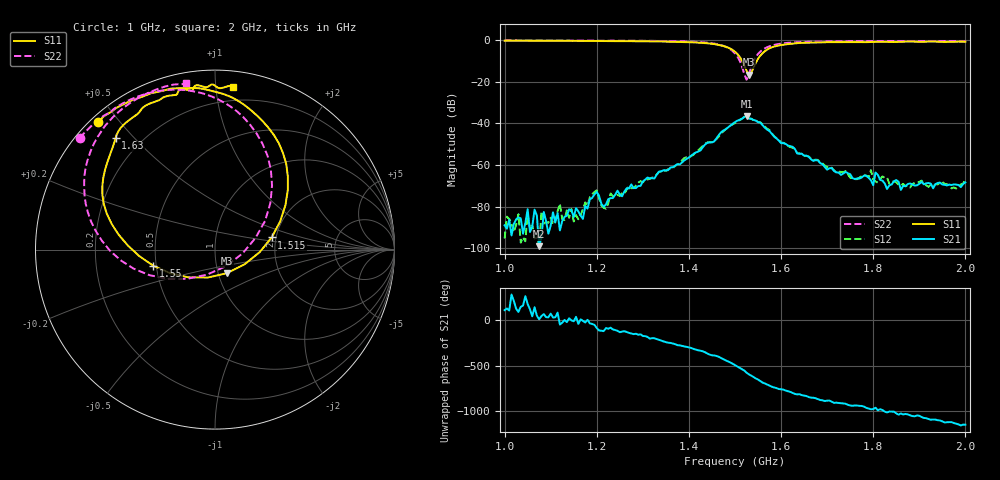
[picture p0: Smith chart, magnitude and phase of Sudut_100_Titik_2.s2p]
# Hz S RI R 50
! CMT, C1220, 16058040, 17.2.0/1
! Date: 14/08/2018 12:46:18
! Data: Format (Calibration Info)
! Freq  S11: Re/Im (F2)  S21: Re/Im (F2)  S12: Re/Im (F2)  S22: Re/Im (F2)
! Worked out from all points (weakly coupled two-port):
!   201 points, 1 GHz to 2 GHz, reference 50 ohm
!   highest |S21| = -36.60 dB at 1.525 GHz (marker M1); lowest = -99.0 dB at 1.075 GHz (marker M2)
!   lowest |S11| = -16.6 dB at 1.53 GHz (marker M3), VSWR 1.35, Z = 55.1 - j14.8 ohm
!   |S11| at or under -10 dB: 1.515 GHz to 1.547 GHz (32.02 MHz wide, 2.09 % of centre)
!   |S22| runs from -19.1 to -0.2 dB; largest |S21 - S12| = 0.00059
!   S11 on the Smith chart (normalised r, x): 1 GHz: 0.02, +0.44; 1.515 GHz: 1.90, +0.29; 1.55 GHz: 0.48, -0.10; 1.63 GHz: 0.11, +0.44; 2 GHz: 0.10, +1.11
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1e9  -0.6514 0.7131  -1.33e-05 3.3e-05  -1.14e-05 -1.27e-05  -0.7539 0.6213
1.075e9  -0.5723 0.7717  1.1e-05 2.35e-06  -3.09e-07 1.14e-05  -0.7009 0.6769
1.17e9  -0.4808 0.8239  5.03e-05 -5.65e-06  8.73e-05 3.03e-06  -0.6184 0.7467
1.2e9  -0.4384 0.8405  1.82e-05 -0.000225  -9.14e-06 -0.000246  -0.585 0.76
1.22e9  -0.4159 0.8478  1.02e-05 -0.000113  2.16e-05 -8.59e-05  -0.5741 0.7739
1.23e9  -0.3988 0.8543  2.44e-05 -0.000158  -4.45e-05 -0.000202  -0.5631 0.7837
1.335e9  -0.2178 0.898  -0.000578 0.000375  -0.00056 0.000389  -0.404 0.8616
1.45e9  0.1821 0.7915  0.00316 -0.00145  0.00317 -0.00166  0.0179 0.8367
1.5e9  0.4057 0.3324  -0.00726 -0.00786  -0.00684 -0.00743  0.3178 0.3573
1.515e9  0.3162 0.068  -0.0128 -0.000609  -0.0129 -0.000931  0.2256 0.0645
1.525e9  0.1646 -0.0822  -0.012 0.00863  -0.0122 0.00863  0.0607 -0.0928
1.53e9  0.0668 -0.1312  -0.00767 0.0106  -0.00775 0.0106  -0.0455 -0.1398
1.55e9  -0.3434 -0.0901  0.00394 0.00999  0.00353 0.0101  -0.4532 -0.1063
1.58e9  -0.6194 0.2528  0.00551 -0.000974  0.00567 -0.00124  -0.7087 0.2087
1.63e9  -0.5543 0.6211  1.87e-05 -0.00243  0.000113 -0.00239  -0.6959 0.5402
1.67e9  -0.4457 0.745  -0.000825 -0.000939  -0.000849 -0.00101  -0.6275 0.6683
1.76e9  -0.2655 0.8557  -0.000368 0.000275  -0.0004 0.000216  -0.4861 0.8074
1.795e9  -0.2077 0.8745  -8.44e-05 0.000421  -0.000167 0.000735  -0.4359 0.8397
1.8e9  -0.2048 0.8812  -8.1e-05 0.000317  -6.69e-05 0.000438  -0.4291 0.8441
1.805e9  -0.1999 0.8871  -0.000315 0.000578  -0.000157 0.00037  -0.4221 0.8484
1.835e9  -0.1358 0.8859  7.36e-05 0.000316  0.000102 0.000338  -0.3819 0.8691
2e9  0.1018 0.906  0.00014 -0.000354  9.75e-05 -0.000425  -0.1597 0.93
